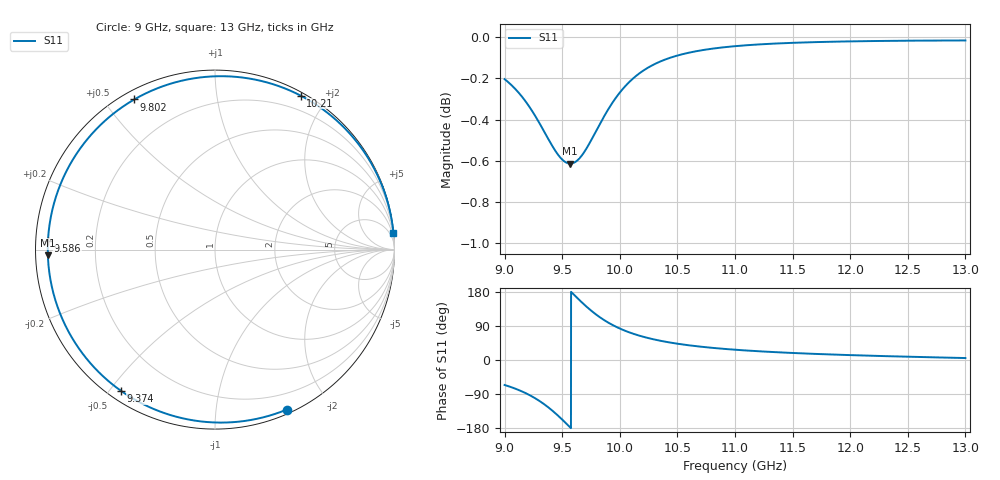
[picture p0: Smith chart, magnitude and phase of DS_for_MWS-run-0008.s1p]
! TOUCHSTONE file generated by CST DESIGN STUDIO
! Date and time: Tue Feb  4 18:06:07 2025
! Project name: C:\Work\MatlabApps\UnitCellOptimizationMatlab\CST\unitcell.cst
! Tree item: Tasks\Sweep1\SPara1\S-Parameters
! Header version: 2024
! Port assignment regex: !\s*Touchstone port\s*([0-9]+)\s*=\s*(CST MWS port|CST DES external port|CST DES block port)\s*(.+)\s* \(\"(.*)\"\)(\s*mode\s*([0-9]+))?.*
! Touchstone port assignment:
! Touchstone port 1 = CST DES external port 1 ("")
# GHz S MA R 50
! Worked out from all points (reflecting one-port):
!   4001 points, 9 GHz to 13 GHz, reference 50 ohm
!   lowest |S11| = -0.6 dB at 9.57 GHz (marker M1), VSWR 28.30, Z = 1.77 - j0.839 ohm
!   phase of S11 starts at -66 deg and turns -289 deg over the sweep
!   S11 on the Smith chart (normalised r, x): 9 GHz: 0.04, -1.54; 9.374 GHz: 0.04, -0.53; 9.586 GHz: 0.04, +0.03; 9.802 GHz: 0.03, +0.60; 10.21 GHz: 0.04, +1.70; 13 GHz: 0, +22
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9  0.9769 -65.9
9.043  0.9746 -70.2
9.11  0.9703 -77.7
9.225  0.9609 -94.0
9.304  0.9529 -108.4
9.374  0.9452 -123.7
9.436  0.9388 -139.3
9.5  0.9339 -157.2
9.536  0.9323 -167.8
9.57  0.9317 -178.1
9.586  0.9319 177.1
9.641  0.9339 160.6
9.702  0.9388 143.2
9.752  0.9441 130.1
9.802  0.9498 118.3
9.845  0.9547 109.1
9.891  0.9596 100.2
10  0.9695 83.1
10.099  0.9763 71.1
10.208  0.9817 60.9
10.342  0.9863 51.4
10.5  0.9898 43.0
10.721  0.9929 34.5
11  0.995 27.1
11.5  0.9969 18.5
12  0.9977 12.9
12.5  0.9981 8.7
13  0.9982 5.2
